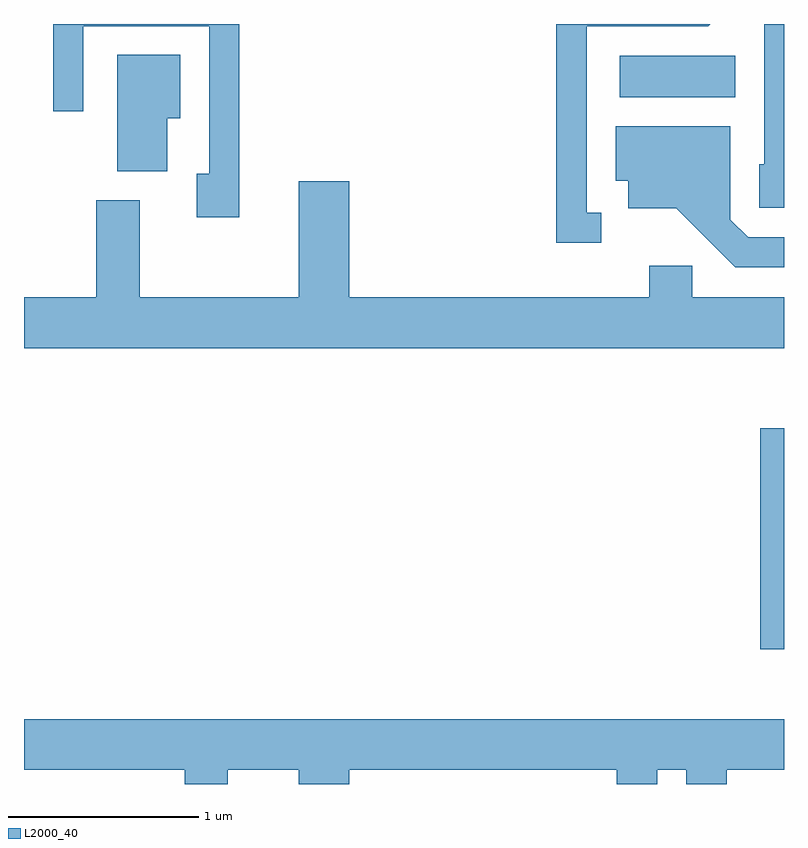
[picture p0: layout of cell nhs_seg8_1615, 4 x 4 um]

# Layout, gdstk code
import gdstk
lib = gdstk.Library(unit=1e-6, precision=1e-09)
def R(c, l, rs):  # rectangles x0, y0, x1, y1
    for r in rs: c.add(gdstk.rectangle(r[:2], r[2:], *l))
def P(c, l, *ps):  # polygons
    for p in ps: c.add(gdstk.Polygon(p, *l))
L2000_40 = (2000, 40)

nhs_seg8_1615 = lib.new_cell('nhs_seg8_1615')
R(nhs_seg8_1615, L2000_40, [(237.486,1837.051,237.611,1838.214), (236.746,1839.956,237.354,1840.174)])
P(nhs_seg8_1615, L2000_40, [(236.648,1839.349),(236.574,1839.349),(236.574,1840.331),(237.212,1840.331),(237.223,1840.342),(236.411,1840.342),(236.411,1839.191),(236.648,1839.191)],
  [(234.744,1840.342),(233.766,1840.342),(233.766,1839.883),(233.924,1839.883),(233.924,1840.331),(234.586,1840.331),(234.586,1839.554),(234.521,1839.554),(234.521,1839.326),(234.744,1839.326)],
  [(237.611,1840.342),(237.506,1840.342),(237.506,1839.604),(237.481,1839.604),(237.481,1839.376),(237.611,1839.376)],
  [(234.364,1839.846),(234.434,1839.846),(234.434,1840.179),(234.101,1840.179),(234.101,1839.566),(234.364,1839.566)],
  [(237.611,1839.219),(237.422,1839.219),(237.329,1839.312),(237.329,1839.804),(236.726,1839.804),(236.726,1839.516),(236.791,1839.516),(236.791,1839.371),(237.044,1839.371),(237.354,1839.061),(237.611,1839.061)],
  [(237.611,1838.904),(237.129,1838.904),(237.129,1839.069),(236.901,1839.069),(236.901,1838.904),(235.324,1838.904),(235.324,1839.514),(235.056,1839.514),(235.056,1838.904),(234.219,1838.904),(234.219,1839.414),(233.991,1839.414),(233.991,1838.904),(233.611,1838.904),(233.611,1838.636),(237.611,1838.636)],
  [(234.684,1836.416),(235.056,1836.416),(235.056,1836.342),(235.324,1836.342),(235.324,1836.416),(236.731,1836.416),(236.731,1836.342),(236.944,1836.342),(236.944,1836.416),(237.096,1836.416),(237.096,1836.342),(237.309,1836.342),(237.309,1836.416),(237.611,1836.416),(237.611,1836.684),(233.611,1836.684),(233.611,1836.416),(234.456,1836.416),(234.456,1836.342),(234.684,1836.342)])

lib.write_gds('nhs_seg8_1615.gds')
